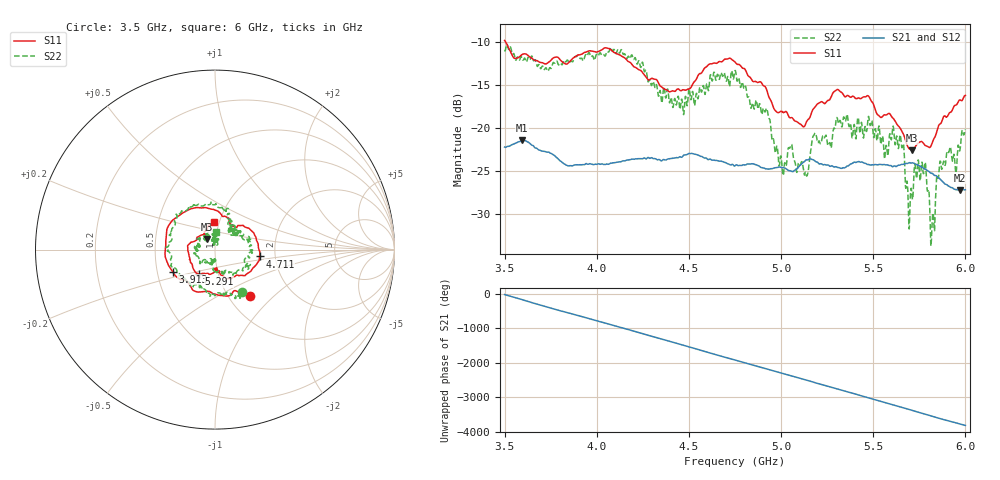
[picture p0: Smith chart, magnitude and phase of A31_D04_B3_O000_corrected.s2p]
! Created with skrf 1.9.0 (http://scikit-rf.org).
# Hz S RI R 50.0
!freq ReS11 ImS11 ReS21 ImS21 ReS12 ImS12 ReS22 ImS22
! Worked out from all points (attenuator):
!   1601 points, 3.5 GHz to 6 GHz, reference 50 ohm
!   highest |S21| = -21.43 dB at 3.594 GHz (marker M1); lowest = -27.2 dB at 5.97 GHz (marker M2)
!   lowest |S11| = -22.6 dB at 5.711 GHz (marker M3), VSWR 1.16, Z = 45.4 + j5.35 ohm
!   |S11| at or under -10 dB: 3.505 GHz to end of sweep
!   |S22| runs from -33.7 to -10.3 dB; largest |S21 - S12| = 0.001
!   S11 on the Smith chart (normalised r, x): 3.5 GHz: 1.25, -0.72; 3.913 GHz: 0.60, -0.16; 4.711 GHz: 1.65, -0.14; 5.291 GHz: 0.81, -0.22; 6 GHz: 0.95, +0.30
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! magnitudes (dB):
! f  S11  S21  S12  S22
! 3.5 GHz  -9.9  -22.2  -22.2  -11.0
! 3.594 GHz  -11.5  -21.4  -21.4  -11.9
! 3.913 GHz  -11.5  -24.3  -24.2  -12.0
! 3.917 GHz  -11.5  -24.3  -24.2  -11.9
! 4.127 GHz  -11.5  -23.9  -23.9  -11.2
! 4.334 GHz  -14.8  -23.7  -23.6  -16.3
! 4.711 GHz  -12.0  -24.2  -24.1  -14.0
! 4.75 GHz  -12.3  -24.4  -24.3  -13.4
! 4.927 GHz  -15.9  -24.7  -24.7  -18.1
! 5.016 GHz  -18.2  -24.6  -24.5  -24.7
! 5.136 GHz  -19.4  -23.7  -23.6  -25.3
! 5.167 GHz  -18.1  -23.6  -23.6  -21.6
! 5.291 GHz  -15.7  -24.5  -24.5  -20.1
! 5.584 GHz  -18.3  -24.3  -24.3  -21.8
! 5.655 GHz  -20.3  -24.2  -24.1  -22.2
! 5.686 GHz  -22.1  -24.1  -24.1  -26.8
! 5.711 GHz  -22.6  -24.0  -24.0  -27.9
! 5.775 GHz  -21.8  -24.7  -24.6  -25.0
! 5.822 GHz  -21.6  -25.3  -25.2  -30.2
! 5.855 GHz  -19.7  -25.8  -25.7  -25.6
! 5.97 GHz  -16.7  -27.2  -27.1  -22.5
! 6 GHz  -16.2  -27.2  -27.1  -20.2
